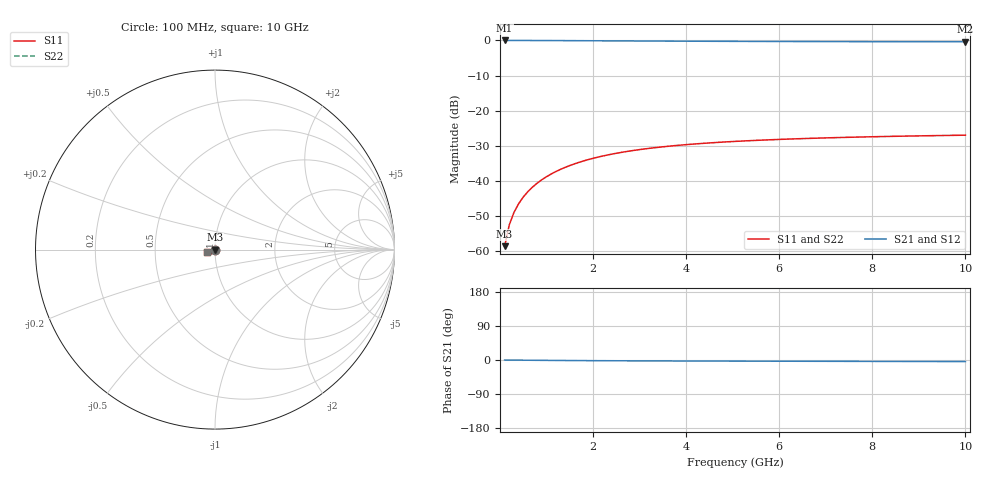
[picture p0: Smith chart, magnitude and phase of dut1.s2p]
! Touchstone file exported from HFSS 2024.1.0
!  File:  C:/UserFiles/LocalFiles/RDL_TSV_Batchsim/temp_TSV1_1_1778745865.aedt
!  Generated:  04:09:11 PM May 14, 2026
!  Design:  TSV1
!  Project:  temp_TSV1_1_1778745865
!  Setup:  Setup1
!  Solution:  Sweep
! Variables:
!  dtsv = 12.02um
!  hbump = 3um
!  htsv = 62.49um
!  lrdl = 252.1521522um
!  p = 40
!  p1 = 43.39um
!  t = 500um
!  trdl = 3um
!  wrdl = 24.89489489um
# GHz S MA R 50.000000
! Terminal data exported
! Port[1] = TSV22_T1
! Port[2] = TSV22_T2
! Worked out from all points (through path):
!   100 points, 100 MHz to 10 GHz, reference 50 ohm
!   highest |S21| = 0.00 dB at 100 MHz (marker M1); lowest = -0.4 dB at 10 GHz (marker M2)
!   lowest |S11| = -58.5 dB at 100 MHz (marker M3), VSWR 1.00, Z = 50 - j0.119 ohm
!   |S11| at or under -10 dB: start of sweep to end of sweep
!   |S22| runs from -58.5 to -26.9 dB; largest |S21 - S12| = 8.8e-15
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0.1  0.001188 -87.3  0.9999 -0.1  0.9999 -0.1  0.001188 -87.3
! Gamma 0 0 0 0
! Port Impedance 50 0 50 0
0.2  0.002382 -91.1  0.9998 -0.2  0.9998 -0.2  0.002382 -91.1
0.3  0.003572 -93.3  0.9996 -0.3  0.9996 -0.3  0.003572 -93.3
0.4  0.004754 -95.1  0.9994 -0.4  0.9994 -0.4  0.004754 -95.1
0.5  0.005924 -96.8  0.9991 -0.5  0.9991 -0.5  0.005924 -96.8
0.6  0.007083 -98.5  0.9987 -0.6  0.9987 -0.6  0.007083 -98.5
0.7  0.008226 -100.0  0.9983 -0.7  0.9983 -0.7  0.008226 -100.0
0.8  0.009352 -101.6  0.9979 -0.8  0.9979 -0.8  0.009352 -101.6
0.9  0.01046 -103.1  0.9974 -0.9  0.9974 -0.9  0.01046 -103.1
1.1  0.01261 -106.0  0.9962 -1.1  0.9962 -1.1  0.01261 -106.0
1.4  0.01567 -110.1  0.9943 -1.3  0.9943 -1.3  0.01567 -110.1
1.6  0.01758 -112.8  0.9929 -1.5  0.9929 -1.5  0.01758 -112.8
1.8  0.01938 -115.3  0.9914 -1.6  0.9914 -1.6  0.01938 -115.3
2.1  0.02189 -118.9  0.9892 -1.8  0.9892 -1.8  0.02189 -118.9
2.5  0.02487 -123.2  0.9862 -2.0  0.9862 -2.0  0.02487 -123.2
2.9  0.02746 -127.1  0.9833 -2.2  0.9833 -2.2  0.02746 -127.1
3.4  0.03024 -131.5  0.9799 -2.4  0.9799 -2.4  0.03023 -131.5
4.2  0.03379 -137.4  0.975 -2.7  0.975 -2.7  0.03379 -137.4
5.1  0.03682 -142.8  0.9705 -3.0  0.9705 -3.0  0.03682 -142.8
6.7  0.0406 -150.2  0.9645 -3.4  0.9645 -3.4  0.0406 -150.2
8.4  0.04324 -156.0  0.9601 -3.8  0.9601 -3.8  0.04324 -156.0
10  0.04497 -160.4  0.9572 -4.2  0.9572 -4.2  0.04497 -160.4
